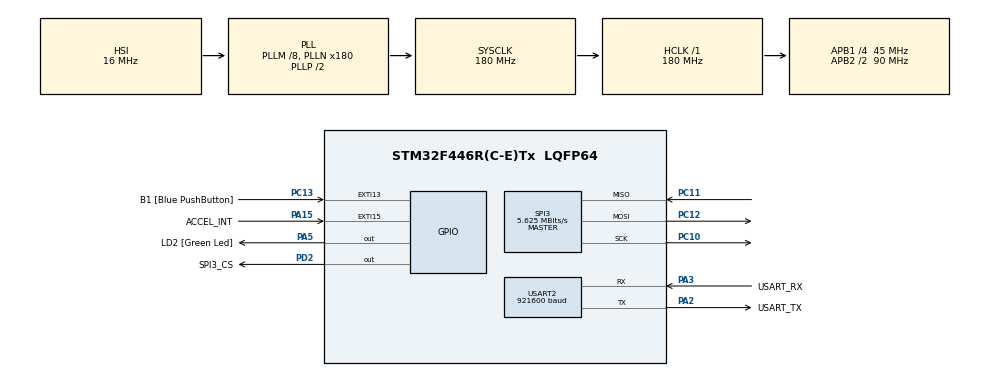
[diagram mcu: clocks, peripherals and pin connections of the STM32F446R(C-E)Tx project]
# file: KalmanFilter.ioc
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Dma.Request0=SPI3_TX
Dma.Request1=SPI3_RX
Dma.Request2=USART2_TX
Dma.Request3=USART2_RX
Dma.SPI3_RX.1.Direction=DMA_PERIPH_TO_MEMORY
Dma.SPI3_RX.1.FIFOMode=DMA_FIFOMODE_DISABLE
Dma.SPI3_RX.1.Instance=DMA1_Stream0
Dma.SPI3_RX.1.MemDataAlignment=DMA_MDATAALIGN_BYTE
Dma.SPI3_RX.1.MemInc=DMA_MINC_ENABLE
Dma.SPI3_RX.1.Mode=DMA_NORMAL
Dma.SPI3_RX.1.PeriphDataAlignment=DMA_PDATAALIGN_BYTE
Dma.SPI3_RX.1.PeriphInc=DMA_PINC_DISABLE
Dma.SPI3_RX.1.Priority=DMA_PRIORITY_HIGH
Dma.SPI3_TX.0.Direction=DMA_MEMORY_TO_PERIPH
Dma.SPI3_TX.0.FIFOMode=DMA_FIFOMODE_DISABLE
Dma.SPI3_TX.0.Instance=DMA1_Stream7
Dma.SPI3_TX.0.MemDataAlignment=DMA_MDATAALIGN_BYTE
Dma.SPI3_TX.0.MemInc=DMA_MINC_ENABLE
Dma.SPI3_TX.0.Mode=DMA_NORMAL
Dma.SPI3_TX.0.PeriphDataAlignment=DMA_PDATAALIGN_BYTE
Dma.SPI3_TX.0.PeriphInc=DMA_PINC_DISABLE
Dma.SPI3_TX.0.Priority=DMA_PRIORITY_HIGH
Dma.USART2_RX.3.Direction=DMA_PERIPH_TO_MEMORY
Dma.USART2_RX.3.FIFOMode=DMA_FIFOMODE_DISABLE
Dma.USART2_RX.3.Instance=DMA1_Stream5
Dma.USART2_RX.3.MemDataAlignment=DMA_MDATAALIGN_BYTE
Dma.USART2_RX.3.MemInc=DMA_MINC_ENABLE
Dma.USART2_RX.3.Mode=DMA_NORMAL
Dma.USART2_RX.3.PeriphDataAlignment=DMA_PDATAALIGN_BYTE
Dma.USART2_RX.3.PeriphInc=DMA_PINC_DISABLE
Dma.USART2_RX.3.Priority=DMA_PRIORITY_MEDIUM
Dma.USART2_TX.2.Direction=DMA_MEMORY_TO_PERIPH
Dma.USART2_TX.2.FIFOMode=DMA_FIFOMODE_DISABLE
Dma.USART2_TX.2.Instance=DMA1_Stream6
Dma.USART2_TX.2.MemDataAlignment=DMA_MDATAALIGN_BYTE
Dma.USART2_TX.2.MemInc=DMA_MINC_ENABLE
Dma.USART2_TX.2.Mode=DMA_NORMAL
Dma.USART2_TX.2.PeriphDataAlignment=DMA_PDATAALIGN_BYTE
Dma.USART2_TX.2.PeriphInc=DMA_PINC_DISABLE
Dma.USART2_TX.2.Priority=DMA_PRIORITY_MEDIUM
Mcu.Family=STM32F4
Mcu.Name=STM32F446R(C-E)Tx
Mcu.Package=LQFP64
NVIC.DMA1_Stream0_IRQn=true\:0\:0\:false\:false\:true\:false\:true\:true
NVIC.DMA1_Stream5_IRQn=true\:0\:0\:false\:false\:true\:false\:true\:true
NVIC.DMA1_Stream6_IRQn=true\:0\:0\:false\:false\:true\:false\:true\:true
NVIC.DMA1_Stream7_IRQn=true\:0\:0\:false\:false\:true\:false\:true\:true
NVIC.EXTI15_10_IRQn=true\:0\:0\:false\:false\:true\:true\:true\:true
NVIC.PriorityGroup=NVIC_PRIORITYGROUP_0
NVIC.SPI3_IRQn=true\:0\:0\:false\:false\:true\:true\:true\:true
NVIC.TIM2_IRQn=true\:0\:0\:false\:false\:true\:true\:true\:true
NVIC.TIM4_IRQn=true\:0\:0\:false\:false\:true\:true\:true\:true
PA13.GPIO_Label=TMS
PA13.Mode=Serial_Wire
PA13.Signal=SYS_JTMS-SWDIO
PA14.GPIO_Label=TCK
PA14.Mode=Serial_Wire
PA14.Signal=SYS_JTCK-SWCLK
PA15.GPIO_Label=ACCEL_INT
PA15.Signal=GPXTI15
PA2.GPIO_Label=USART_TX
PA2.Mode=Asynchronous
PA2.Signal=USART2_TX
PA3.GPIO_Label=USART_RX
PA3.Mode=Asynchronous
PA3.Signal=USART2_RX
PA5.GPIO_Label=LD2 [Green Led]
PA5.Signal=GPIO_Output
PB3.GPIO_Label=SWO
PB3.Signal=SYS_JTDO-SWO
PC10.Mode=Full_Duplex_Master
PC10.Signal=SPI3_SCK
PC11.Mode=Full_Duplex_Master
PC11.Signal=SPI3_MISO
PC12.Mode=Full_Duplex_Master
PC12.Signal=SPI3_MOSI
PC13.GPIO_Label=B1 [Blue PushButton]
PC13.GPIO_ModeDefaultEXTI=GPIO_MODE_IT_FALLING
PC13.Signal=GPXTI13
PC14-OSC32_IN.Mode=LSE-External-Oscillator
PC14-OSC32_IN.Signal=RCC_OSC32_IN
PC15-OSC32_OUT.Mode=LSE-External-Oscillator
PC15-OSC32_OUT.Signal=RCC_OSC32_OUT
PD2.GPIO_Label=SPI3_CS
PD2.Signal=GPIO_Output
PH0-OSC_IN.Mode=HSE-External-Oscillator
PH0-OSC_IN.Signal=RCC_OSC_IN
PH1-OSC_OUT.Mode=HSE-External-Oscillator
PH1-OSC_OUT.Signal=RCC_OSC_OUT
ProjectManager.HeapSize=0x200
ProjectManager.StackSize=0x400
ProjectManager.TargetToolchain=STM32CubeIDE
RCC.48MHZClocksFreq_Value=84000000
RCC.AHBFreq_Value=180000000
RCC.APB1CLKDivider=RCC_HCLK_DIV4
RCC.APB1Freq_Value=45000000
RCC.APB1TimFreq_Value=90000000
RCC.APB2CLKDivider=RCC_HCLK_DIV2
RCC.APB2Freq_Value=90000000
RCC.APB2TimFreq_Value=180000000
RCC.CortexFreq_Value=180000000
RCC.FLatency-AdvancedSettings=FLASH_LATENCY_5
RCC.HCLKFreq_Value=180000000
RCC.HSE_VALUE=8000000
RCC.HSI_VALUE=16000000
RCC.PLLM=8
RCC.PLLN=180
RCC.SYSCLKFreq_VALUE=180000000
RCC.SYSCLKSource=RCC_SYSCLKSOURCE_PLLCLK
RCC.USBFreq_Value=180000000
RCC.VCOOutputFreq_Value=360000000
SPI3.BaudRatePrescaler=SPI_BAUDRATEPRESCALER_8
SPI3.CLKPhase=SPI_PHASE_2EDGE
SPI3.CLKPolarity=SPI_POLARITY_HIGH
SPI3.CalculateBaudRate=5.625 MBits/s
SPI3.Direction=SPI_DIRECTION_2LINES
SPI3.Mode=SPI_MODE_MASTER
SPI3.VirtualType=VM_MASTER
USART2.BaudRate=921600
USART2.VirtualMode=VM_ASYNC
VP_TIM2_VS_ClockSourceINT.Mode=Internal
VP_TIM4_VS_ClockSourceINT.Mode=Internal
board=NUCLEO-F446RE

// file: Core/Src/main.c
/* USER CODE BEGIN Header */
/**
  ******************************************************************************
  * @file           : main.c
  * @brief          : Main program body
  ******************************************************************************
  * @attention
  *
  * Copyright (c) 2024 STMicroelectronics.
  * All rights reserved.
  *
  * This software is licensed under terms that can be found in the LICENSE file
  * in the root directory of this software component.
  * If no LICENSE file comes with this software, it is provided AS-IS.
  *
  ******************************************************************************
  */
/* USER CODE END Header */
#include "main.h"
#include "dma.h"
#include "spi.h"
#include "tim.h"
#include "usart.h"
#include "gpio.h"

/* USER CODE BEGIN Includes */
#include <stdint.h>
#include <stdio.h>

#define INV_MSG_ENABLE
#include "Invn/EmbUtils/Message.h"
#include "Invn/EmbUtils/DataConverter.h"
#include "Invn/Devices/DeviceIcm20948.h"
#include "Invn/DynamicProtocol/DynProtocol.h"
#include "Invn/DynamicProtocol/DynProtocolTransportUart.h"

#include "Invn/Devices/Drivers/Icm20948/Icm20948Defs.h"
#include "Invn/Devices/Drivers/Icm20948/Icm20948Setup.h"
#include "Invn/Devices/Drivers/Icm20948/Icm20948MPUFifoControl.h"
#include "Invn/Devices/Drivers/Icm20948/Icm20948DataBaseDriver.h"

#include "idd_io_hal.h"
#include "delay.h"
#include "math.h"
/* USER CODE END Includes */

/* USER CODE BEGIN PD */
#define ARRAY_SIZE 10
#define DATA_FIELDS 9

#define MAIN_UART_ID UART1 // Through FTDI cable
#define LOG_UART_ID  UART2 // Through ST-Link
#define DELAY_TIMER  TIM4
#define TIMEBASE_TIMER TIM2

#define USE_IDDWRAPPER 0   /* This allows to control the sensors from sensor-cli host application and send sensor events to it */
#define ODR_NONE       0   /* Asynchronous sensors don't need to have a configured ODR */

/* Define msg level */
#define MSG_LEVEL INV_MSG_LEVEL_MAX

#define USE_RAW_ACC    0
#define USE_RAW_GYR    0
#define USE_GRV        0
#define USE_CAL_ACC    0
#define USE_CAL_GYR    0
#define USE_CAL_MAG    1
#define USE_UCAL_GYR   0
#define USE_UCAL_MAG   0
#define USE_RV         0    /* requires COMPASS*/
#define USE_GEORV      0    /* requires COMPASS*/
#define USE_ORI        0    /* requires COMPASS*/
#define USE_STEPC      0
#define USE_STEPD      0
#define USE_SMD        0
#define USE_BAC        0
#define USE_TILT       0
#define USE_PICKUP     0
#define USE_GRAVITY    0
#define USE_LINACC     0
#define USE_B2S        0

static const struct {
	uint8_t  type;
	uint32_t period_us;
} sensor_list[] = {
#if USE_RAW_ACC
	{ INV_SENSOR_TYPE_RAW_ACCELEROMETER, 10000 /* 20 Hz */ }, //Not exceeding 200 hz (ish)
#endif
#if USE_RAW_GYR
	{ INV_SENSOR_TYPE_RAW_GYROSCOPE,     10000 /* 20 Hz */ },
#endif
#if USE_CAL_ACC
	{ INV_SENSOR_TYPE_ACCELEROMETER, 50000 /* 20 Hz */ },
#endif
#if USE_CAL_GYR
	{ INV_SENSOR_TYPE_GYROSCOPE, 50000 /* 20 Hz */ },
#endif
#if USE_CAL_MAG
	{ INV_SENSOR_TYPE_MAGNETOMETER, 50000 /* 20 Hz */ },
#endif
#if USE_UCAL_GYR
	{ INV_SENSOR_TYPE_UNCAL_GYROSCOPE, 50000 /* 20 Hz */ },
#endif
#if USE_UCAL_MAG
	{ INV_SENSOR_TYPE_UNCAL_MAGNETOMETER, 50000 /* 20 Hz */ },
#endif
#if USE_GRV
	{ INV_SENSOR_TYPE_GAME_ROTATION_VECTOR, 50000 /* 20 Hz */ },
#endif
#if USE_RV
	{ INV_SENSOR_TYPE_ROTATION_VECTOR, 50000 /* 20 Hz */ },
#endif
#if USE_GEORV
	{ INV_SENSOR_TYPE_GEOMAG_ROTATION_VECTOR, 50000 /* 20 Hz */ },
#endif
#if USE_ORI
	{ INV_SENSOR_TYPE_ORIENTATION, 50000 /* 20 Hz */ },
#endif
#if USE_STEPC
	{ INV_SENSOR_TYPE_STEP_COUNTER, ODR_NONE },
#endif
#if USE_STEPD
	{ INV_SENSOR_TYPE_STEP_DETECTOR, ODR_NONE},
#endif
#if USE_SMD
	{ INV_SENSOR_TYPE_SMD, ODR_NONE},
#endif
#if USE_BAC
	{ INV_SENSOR_TYPE_BAC, ODR_NONE},
#endif
#if USE_TILT
	{ INV_SENSOR_TYPE_TILT_DETECTOR, ODR_NONE},
#endif
#if USE_PICKUP
	{ INV_SENSOR_TYPE_PICK_UP_GESTURE, ODR_NONE},
#endif
#if USE_GRA
	{ INV_SENSOR_TYPE_GRAVITY, 50000 /* 20 Hz */},
#endif
#if USE_LINACC
	{ INV_SENSOR_TYPE_LINEAR_ACCELERATION, 50000 /* 20 Hz */},
#endif
#if USE_B2S
	{ INV_SENSOR_TYPE_B2S, ODR_NONE},
#endif
};
const char * activityName(int act);

/* USER CODE END PD */

/* USER CODE BEGIN PV */
static volatile uint16_t irq_from_device;
/*
 * WHOAMI value for 20948
 */
static const uint8_t EXPECTED_WHOAMI[] = { 0xEA };
static const uint8_t dmp3_image[] = {
//	0
	 #include "icm20948_img.dmp3a.h"
};
/*
 * States for icm20948 device object
 */
static inv_device_icm20948_t device_icm20948;

/*
 * Just a handy variable to keep the handle to device object
 */
static inv_device_t * device;

/*
 * Last time at which 20948 IRQ was fired
 */
static volatile uint32_t last_irq_time = 0;

/* USER CODE END PV */

void SystemClock_Config(void);
/* USER CODE BEGIN PFP */
void ext_interrupt_cb(void * context, int int_num);
static void sensor_event_cb(const inv_sensor_event_t * event, void * arg);
void inv_icm20948_sleep_us(int us);
void inv_icm20948_sleep(int us);
uint64_t inv_icm20948_get_time_us(void);
uint64_t inv_icm20948_get_dataready_interrupt_time_us(void);
static void check_rc(int rc);
static void msg_printer(int level, const char * str, va_list ap);

int __io_putchar(int ch) {
    HAL_UART_Transmit(&huart2, (uint8_t*)&ch, 1, HAL_MAX_DELAY);
    return ch;
}

int _write(int file, char *ptr, int len) {
    HAL_UART_Transmit(&huart2, (uint8_t*)ptr, len, HAL_MAX_DELAY);
    return len;
}

#ifndef TO_MASK
//#define TO_MASK(a) (1U << (unsigned)(a))
#define TO_MASK(a) ((unsigned)(a))
#endif

void modify_register(struct inv_icm20948 * s, uint16_t reg, unsigned char mask, unsigned char value);
/*
 * A listener object will handle sensor events
 */
static const inv_sensor_listener_t sensor_listener = {
	sensor_event_cb, /* callback that will receive sensor events */
	0                /* some pointer passed to the callback */
};
/* USER CODE END PFP */

int main(void)
{

  /* USER CODE BEGIN 1 */
  int rc = 0;
  unsigned i = 0;
  uint8_t whoami = 0xff;
  /* USER CODE END 1 */

  /* MCU Configuration--------------------------------------------------------*/

  /* Reset of all peripherals, Initializes the Flash interface and the Systick. */
  HAL_Init();

  /* Configure the system clock */
  SystemClock_Config();

  /* Initialize all configured peripherals */
  MX_GPIO_Init();
  MX_DMA_Init();
  MX_USART2_UART_Init();
  MX_SPI3_Init();
  MX_TIM4_Init();
  MX_TIM2_Init();
  /* USER CODE BEGIN 2 */
  HAL_UART_Init(&huart2);
  HAL_GPIO_WritePin(SPI3_CS_GPIO_Port, SPI3_CS_Pin, GPIO_PIN_SET);
  delay_init(DELAY_TIMER);
  timer_configure_timebase(&htim2, 1000000);
  HAL_TIM_Base_Start_IT(&htim2);

  /*
  * Setup message facility to see internal traces from IDD
  */
  INV_MSG_SETUP(MSG_LEVEL, msg_printer);

  /*
  * Welcome message
  */
  INV_MSG(INV_MSG_LEVEL_INFO, "###################################");
  INV_MSG(INV_MSG_LEVEL_INFO, "#          20948 example          #");
  INV_MSG(INV_MSG_LEVEL_INFO, "###################################");

  /* USER CODE END 2 */

  /* Infinite loop */
  /* USER CODE BEGIN WHILE */
  rc += inv_host_serif_open(idd_io_hal_get_serif_instance_spi());

  /*
	 * Create icm20948 Device
	 * Pass to the driver:
	 * - reference to serial interface object,
	 * - reference to listener that will catch sensor events,
	 * - a static buffer for the driver to use as a temporary buffer
	 * - various driver option
	 */
	inv_device_icm20948_init(&device_icm20948, idd_io_hal_get_serif_instance_spi(),
			&sensor_listener, dmp3_image, sizeof(dmp3_image));

  /*
	 * Simply get generic device handle from icm20948 Device
	 */
	device = inv_device_icm20948_get_base(&device_icm20948);

	/*
	 * Just get the whoami
	 */
	rc = inv_device_whoami(device, &whoami);
	INV_MSG(INV_MSG_LEVEL_INFO, "ICM WHOAMI=%02x", whoami);
	check_rc(rc);

	/*
	 * Check if WHOAMI value corresponds to any value from EXPECTED_WHOAMI array
	 */
	for(i = 0; i < sizeof(EXPECTED_WHOAMI)/sizeof(EXPECTED_WHOAMI[0]); ++i) {
		if(whoami == EXPECTED_WHOAMI[i])
			break;
	}

	if(i == sizeof(EXPECTED_WHOAMI)/sizeof(EXPECTED_WHOAMI[0])) {
		INV_MSG(INV_MSG_LEVEL_ERROR, "Bad WHOAMI value. Got 0x%02x. Expected @EXPECTED_WHOAMI@.", whoami);
		check_rc(-1);
	}

	/*
	 * Configure and initialize the icm20948 device
	 */
	INV_MSG(INV_MSG_LEVEL_INFO, "Setting-up ICM device");
	rc = inv_device_setup(device);
	check_rc(rc);

	uint64_t available_sensor_mask; /* To keep track of available sensors*/
	/*
		* Check sensor availibitlity
		* if rc value is 0, it means sensor is available,
		* if rc value is INV_ERROR or INV_ERROR_BAD_ARG, sensor is NA
		*/
	available_sensor_mask = 0;
	for(i = 0; i < sizeof(sensor_list)/sizeof(sensor_list[0]); ++i) {
		const int rc = inv_device_ping_sensor(device, sensor_list[i].type);
		INV_MSG(INV_MSG_LEVEL_INFO, "Ping %s %s", inv_sensor_2str(sensor_list[i].type), (rc == 0) ? "OK" : "KO");
		if(rc == 0) {
			available_sensor_mask |= (1ULL << sensor_list[i].type);
		}
	}

	/*
		* Start all available sensors from the sensor list
		*/
	for(i = 0; i < sizeof(sensor_list)/sizeof(sensor_list[0]); ++i) {
		if(available_sensor_mask & (1ULL << sensor_list[i].type)) {
			INV_MSG(INV_MSG_LEVEL_INFO, "Starting %s @ %u us", inv_sensor_2str(sensor_list[i].type), sensor_list[i].period_us);
			rc  = inv_device_set_sensor_period_us(device, sensor_list[i].type, sensor_list[i].period_us);
			check_rc(rc);
			rc += inv_device_start_sensor(device, sensor_list[i].type);
			check_rc(rc);
		}
	}

	/*
	* Poll device for data
	*/
	unsigned char test_data[6];
	unsigned char mask;
	unsigned char val;

	/*-------SLV I2C Regs-----------*/
	inv_icm20948_read_mems_reg(&device_icm20948.icm20948_states, REG_I2C_SLV0_CTRL, 1, test_data);
	INV_MSG(INV_MSG_LEVEL_INFO, "REG_I2C_SLV0_CTRL : %d", test_data[0]);
	inv_icm20948_read_mems_reg(&device_icm20948.icm20948_states, REG_I2C_SLV1_CTRL, 1, test_data);
	INV_MSG(INV_MSG_LEVEL_INFO, "REG_I2C_SLV1_CTRL : %d", test_data[0]);
	inv_icm20948_read_mems_reg(&device_icm20948.icm20948_states, REG_I2C_SLV2_CTRL, 1, test_data);
	INV_MSG(INV_MSG_LEVEL_INFO, "REG_I2C_SLV2_CTRL : %d", test_data[0]);
	inv_icm20948_read_mems_reg(&device_icm20948.icm20948_states, REG_I2C_SLV3_CTRL, 1, test_data);
	INV_MSG(INV_MSG_LEVEL_INFO, "REG_I2C_SLV3_CTRL : %d", test_data[0]);

	inv_icm20948_read_mems_reg(&device_icm20948.icm20948_states, REG_I2C_SLV0_ADDR, 1, test_data);
	INV_MSG(INV_MSG_LEVEL_INFO, "REG_I2C_SLV0_ADDR : %d", test_data[0]);
	inv_icm20948_read_mems_reg(&device_icm20948.icm20948_states, REG_I2C_SLV1_ADDR, 1, test_data);
	INV_MSG(INV_MSG_LEVEL_INFO, "REG_I2C_SLV1_ADDR : %d", test_data[0]);
	inv_icm20948_read_mems_reg(&device_icm20948.icm20948_states, REG_I2C_SLV2_ADDR, 1, test_data);
	INV_MSG(INV_MSG_LEVEL_INFO, "REG_I2C_SLV2_ADDR : %d", test_data[0]);
	inv_icm20948_read_mems_reg(&device_icm20948.icm20948_states, REG_I2C_SLV3_ADDR, 1, test_data);
	INV_MSG(INV_MSG_LEVEL_INFO, "REG_I2C_SLV3_ADDR : %d", test_data[0]);

	/*-------------------*/
	// Disable DMP INT
	mask = 0b10001111;
	val = 0;
	modify_register(&device_icm20948.icm20948_states, REG_INT_ENABLE, mask, val);
	/*-------------------*/
	// Enable Raw Data INT
	mask = 0b1;
	val = 0b1;
	modify_register(&device_icm20948.icm20948_states, REG_INT_ENABLE_1, mask, val);

	/*-------Accel-------*/
	mask = 0b111111;
	val = 1; // Enable FCHOICE
	INV_MSG(INV_MSG_LEVEL_VERBOSE, "REG_ACCEL_CONFIG");
	modify_register(&device_icm20948.icm20948_states, REG_ACCEL_CONFIG, mask, val);
	device_icm20948.icm20948_states.base_state.accel_fullscale = 0;

	mask = 0b11111;
	val = 0;
	INV_MSG(INV_MSG_LEVEL_VERBOSE, "REG_ACCEL_CONFIG_2");
	modify_register(&device_icm20948.icm20948_states, REG_ACCEL_CONFIG_2, mask, val);

	mask = 0b1111;
	val = 0;
	INV_MSG(INV_MSG_LEVEL_VERBOSE, "REG_ACCEL_SMPLRT_DIV_1");
	modify_register(&device_icm20948.icm20948_states, REG_ACCEL_SMPLRT_DIV_1, mask, val);

	mask = 0b11111111;
	val = 0;
	INV_MSG(INV_MSG_LEVEL_VERBOSE, "REG_ACCEL_SMPLRT_DIV_2");
	modify_register(&device_icm20948.icm20948_states, REG_ACCEL_SMPLRT_DIV_2, mask, val);

	inv_icm20948_read_mems_reg(&device_icm20948.icm20948_states, REG_ACCEL_XOUT_H_SH, 6, test_data);
	INV_MSG(INV_MSG_LEVEL_VERBOSE, "Accel Meas (XH,XL,YH,YL,ZH,ZL) : %d, %d, %d, %d, %d, %d", test_data[0],test_data[1],test_data[2],test_data[3],test_data[4],test_data[5]);

	/*-------Gyro-------*/
	mask = 0b111111;
	val = 1; //Enable FCHOICE
	INV_MSG(INV_MSG_LEVEL_VERBOSE, "REG_GYRO_CONFIG_1");
	modify_register(&device_icm20948.icm20948_states, REG_GYRO_CONFIG_1, mask, val);
	device_icm20948.icm20948_states.base_state.gyro_fullscale = 0;

	mask = 0b111111;
	val = 0;
	INV_MSG(INV_MSG_LEVEL_VERBOSE, "REG_GYRO_CONFIG_2");
	modify_register(&device_icm20948.icm20948_states, REG_GYRO_CONFIG_2, mask, val);

	mask = 0b11111111;
	val = 0;
	INV_MSG(INV_MSG_LEVEL_VERBOSE, "REG_GYRO_SMPLRT_DIV");
	modify_register(&device_icm20948.icm20948_states, REG_GYRO_SMPLRT_DIV, mask, val);

	inv_icm20948_read_mems_reg(&device_icm20948.icm20948_states, REG_GYRO_XOUT_H_SH, 6, test_data);
	INV_MSG(INV_MSG_LEVEL_VERBOSE, "Gyro Meas (XH,XL,YH,YL,ZH,ZL) : %d, %d, %d, %d, %d, %d", test_data[0],test_data[1],test_data[2],test_data[3],test_data[4],test_data[5]);

	/*-------------------*/

//	mask = 0b00100000;
//	val = 0b00000000;
//	INV_MSG(INV_MSG_LEVEL_VERBOSE, "REG_PWR_MGMT_1");
//	modify_register(&device_icm20948.icm20948_states, REG_PWR_MGMT_1, mask, val);
	inv_icm20948_read_mems_reg(&device_icm20948.icm20948_states, REG_PWR_MGMT_1, 1, test_data);
	INV_MSG(INV_MSG_LEVEL_INFO, "REG_PWR_MGMT_1 : %d", test_data[0]);
	/*-------------------*/
	inv_icm20948_read_mems_reg(&device_icm20948.icm20948_states, REG_PWR_MGMT_2, 1, test_data);
	INV_MSG(INV_MSG_LEVEL_INFO, "REG_PWR_MGMT_2 : %d", test_data[0]);
	/*-------------------*/
	// Disable DMP and FIFO
		mask = 0b11000000;
		val = 0b00000000;
		modify_register(&device_icm20948.icm20948_states, REG_USER_CTRL, mask, val);

	/*-------------------*/
	// Disable Duty Cycle Mode
//	inv_icm20948_read_mems_reg(&device_icm20948.icm20948_states, REG_LP_CONFIG, 1, test_data);
//	INV_MSG(INV_MSG_LEVEL_INFO, "REG_LP_CONFIG : %d", test_data[0]);
	mask = 0b01110000;
	val = 0b01000000;
	INV_MSG(INV_MSG_LEVEL_VERBOSE, "REG_LP_CONFIG");
	modify_register(&device_icm20948.icm20948_states, REG_LP_CONFIG, mask, val);

	/*-------------------*/
	// Reading Raw Data Interrupt Reg
	inv_icm20948_read_mems_reg(&device_icm20948.icm20948_states, REG_INT_STATUS_1, 1, test_data);
	INV_MSG(INV_MSG_LEVEL_INFO, "REG_INT_STATUS_1 : %d", test_data[0]);

	inv_icm20948_read_mems_reg(&device_icm20948.icm20948_states, REG_PWR_MGMT_1, 1, test_data);
	INV_MSG(INV_MSG_LEVEL_INFO, "REG_PWR_MGMT_1 : %d", test_data[0]);
	/*-------------------*/
	// Enable All Accel and Gyro Axis
	inv_icm20948_read_mems_reg(&device_icm20948.icm20948_states, REG_PWR_MGMT_2, 1, test_data);
	INV_MSG(INV_MSG_LEVEL_INFO, "REG_PWR_MGMT_2 : %d", test_data[0]);
	mask = 0b111111;
	val = 0b000000;
	INV_MSG(INV_MSG_LEVEL_VERBOSE, "REG_PWR_MGMT_2");
	modify_register(&device_icm20948.icm20948_states, REG_PWR_MGMT_2, mask, val);

	/*--------- FIFO Stuff -------*/
	inv_icm20948_read_mems_reg(&device_icm20948.icm20948_states, REG_INT_ENABLE_2, 1, test_data);
	INV_MSG(INV_MSG_LEVEL_INFO, "REG_INT_ENABLE_2 : %d", test_data[0]);
	modify_register(&device_icm20948.icm20948_states, REG_INT_ENABLE_2, 0b00011111, 1);

	inv_icm20948_read_mems_reg(&device_icm20948.icm20948_states, REG_INT_ENABLE_3, 1, test_data);
	INV_MSG(INV_MSG_LEVEL_INFO, "REG_INT_ENABLE_3 : %d", test_data[0]);
	modify_register(&device_icm20948.icm20948_states, REG_INT_ENABLE_3, 0b00011111, 0);

	// FIFO EN for Mag
	inv_icm20948_read_mems_reg(&device_icm20948.icm20948_states, REG_FIFO_EN, 1, test_data);
	INV_MSG(INV_MSG_LEVEL_INFO, "REG_FIFO_EN : %d", test_data[0]);
	modify_register(&device_icm20948.icm20948_states, REG_FIFO_EN, 0b00001111, 0b0001);

	// FIFO EN for Accel and Gyro and Temp
	inv_icm20948_read_mems_reg(&device_icm20948.icm20948_states, REG_FIFO_EN_2, 1, test_data);
	INV_MSG(INV_MSG_LEVEL_INFO, "REG_FIFO_EN_2 : %d", test_data[0]);
	modify_register(&device_icm20948.icm20948_states, REG_FIFO_EN_2, 0b00011111, 0b11111);

	inv_icm20948_read_mems_reg(&device_icm20948.icm20948_states, REG_FIFO_RST, 1, test_data);
	INV_MSG(INV_MSG_LEVEL_INFO, "REG_FIFO_RST : %d", test_data[0]);
	modify_register(&device_icm20948.icm20948_states, REG_FIFO_RST, 0b00011111, 0b11111);

	modify_register(&device_icm20948.icm20948_states, REG_FIFO_RST, 0b00011111, 0b11110);

	inv_icm20948_read_mems_reg(&device_icm20948.icm20948_states, REG_FIFO_MODE, 1, test_data);
	INV_MSG(INV_MSG_LEVEL_INFO, "REG_FIFO_MODE : %d", test_data[0]);
	inv_icm20948_read_mems_reg(&device_icm20948.icm20948_states, REG_FIFO_CFG, 1, test_data);
	INV_MSG(INV_MSG_LEVEL_INFO, "REG_FIFO_CFG : %d", test_data[0]);

	inv_icm20948_read_mems_reg(&device_icm20948.icm20948_states, REG_ACCEL_CONFIG, 1, test_data);
	INV_MSG(INV_MSG_LEVEL_INFO, "REG_ACCEL_CONFIG : %d", test_data[0]);

	float accel_scale = (1 << inv_icm20948_get_accel_fullscale(&device_icm20948.icm20948_states)) * 2.f / (1L<<15); // Convert from raw units to g's
	float gyro_scale = (1 << inv_icm20948_get_gyro_fullscale(&device_icm20948.icm20948_states)) * 250.f / (1L<<15); // Convert from raw units to dps's
	float mag_scale = 4912.f / (1L<<15); // Convert from raw units to uT
	float accel_float[3];
	float gyro_float[3];
	float mag_float[3];
	int32_t  long_data[16] = {0};
	int32_t  long_data2[16] = {0};
	uint64_t timestamps[ARRAY_SIZE];
	uint16_t fifo_data_count[ARRAY_SIZE];
	float datalog[ARRAY_SIZE][DATA_FIELDS]; // Array to store timestamps
	int32_t datalog_long[ARRAY_SIZE][DATA_FIELDS]; // Array to store timestamps

	uint16_t idx = 0;  // Index for the current timestamp in the array
	unsigned char fifo_data[1024];

	//	// Enable FIFO
	modify_register(&device_icm20948.icm20948_states, REG_USER_CTRL, 0b11000000, 0b01000000);

	while (1)
  {
//    INV_MSG(INV_MSG_LEVEL_INFO, "Polling Sensor");
	  // This is the DMP Polling Stuff
//	if (irq_from_device & TO_MASK(ACCEL_INT_Pin)) {
//		rc = inv_device_poll(device);
//		check_rc(rc);
//
//		if(rc >= 0) {
//			__disable_irq();
//			irq_from_device &= ~TO_MASK(ACCEL_INT_Pin);
//			__enable_irq();
//		}
//	}
	  if (irq_from_device & TO_MASK(ACCEL_INT_Pin)) {
		  // Read INT REG
//		  inv_icm20948_read_mems_reg(&device_icm20948.icm20948_states, REG_INT_STATUS_1, 1, test_data);
		  // Check INT

//		  if(test_data[0])
//		  {

		  // Not enough time to read FIFO count at 9kHz

		     inv_icm20948_read_mems_reg(&device_icm20948.icm20948_states, REG_FIFO_COUNT_H, 2, fifo_data);
		     uint16_t fifo_len = (int16_t)((fifo_data[0] << 8) | fifo_data[1]);
		     fifo_data_count[idx] = fifo_len;
		     uint16_t bytes_read = 0;

		     if (fifo_len != 0)
		     {
		    	 while (bytes_read<fifo_len)
				 {
					 unsigned short thisLen = min(INV_MAX_SERIAL_READ, fifo_len-bytes_read);

					 inv_icm20948_read_mems_reg(&device_icm20948.icm20948_states, REG_FIFO_R_W, thisLen, &fifo_data[bytes_read]);
					 bytes_read += thisLen;
				 }
		     }

		     for (int i = 0; i < 16; i++) {
		         long_data[i] = (int16_t)((fifo_data[2*i] << 8) | fifo_data[2*i + 1]);
		     }

		 accel_float[0] = long_data[0]*accel_scale;
		 accel_float[1] = long_data[1]*accel_scale;
		 accel_float[2] = long_data[2]*accel_scale;
		 gyro_float[0] = long_data[3]*gyro_scale;
		 gyro_float[1] = long_data[4]*gyro_scale;
		 gyro_float[2] = long_data[5]*gyro_scale;
//		 temperature = long_data[6]
		 // Idk = long_data[7]
		 mag_float[0] = long_data[8]*mag_scale;
		 mag_float[1] = long_data[9]*mag_scale;
		 mag_float[2] = long_data[10]*mag_scale;

		  timestamps[idx] = last_irq_time;
		  datalog[idx][0] = accel_float[0];
		  datalog[idx][1] = accel_float[1];
		  datalog[idx][2] = accel_float[2];
		  datalog[idx][3] = gyro_float[0];
		  datalog[idx][4] = gyro_float[1];
		  datalog[idx][5] = gyro_float[2];
		  datalog[idx][6] = mag_float[0];
		  datalog[idx][7] = mag_float[1];
		  datalog[idx][8] = mag_float[2];
		  datalog_long[idx][0] = long_data[0];
		  datalog_long[idx][1] = long_data[1];
		  datalog_long[idx][2] = long_data[2];
		  datalog_long[idx][3] = long_data[3];
		  datalog_long[idx][4] = long_data[4];
		  datalog_long[idx][5] = long_data[5];
		  datalog_long[idx][6] = long_data[6];
		  datalog_long[idx][7] = long_data[7];
		  datalog_long[idx][8] = long_data[8];

		  idx++;
		  if (idx == ARRAY_SIZE) {
			for (int i = 0; i < ARRAY_SIZE; i++) {
				printf("TS = %llu, Accel = (%f, %f, %f), Gyro = (%f, %f, %f), Mag = (%f, %f, %f), FIFO = %d\n\r",
						timestamps[i], datalog[i][0], datalog[i][1], datalog[i][2],
						datalog[i][3], datalog[i][4], datalog[i][5],
						datalog[i][6], datalog[i][7], datalog[i][8], fifo_data_count[i]);
//				printf("TS = %llu, Accel = (%ld, %ld, %ld), Gyro = (%ld, %ld, %ld), Mag = (%ld, %ld, %ld), FIFO = %d\n\r",
//						timestamps[i], datalog_long[i][0], datalog_long[i][1], datalog_long[i][2],
//						datalog_long[i][3], datalog_long[i][4], datalog_long[i][5],
//						datalog_long[i][6], datalog_long[i][7], datalog_long[i][8], fifo_data_count[i]);

			}
			idx = 0;  // Reset index to start filling the array again
		  }
		__disable_irq();
		irq_from_device &= ~TO_MASK(ACCEL_INT_Pin);
		__enable_irq();

//		  }
	  }
//	if (int_read_back & 0x8)
//	{
//		INV_MSG(INV_MSG_LEVEL_INFO, "Raw Data Int");
//	}

    /* USER CODE END WHILE */

  }
}

void SystemClock_Config(void)
{
  RCC_OscInitTypeDef RCC_OscInitStruct = {0};
  RCC_ClkInitTypeDef RCC_ClkInitStruct = {0};

  /** Configure the main internal regulator output voltage
  */
  __HAL_RCC_PWR_CLK_ENABLE();
  __HAL_PWR_VOLTAGESCALING_CONFIG(PWR_REGULATOR_VOLTAGE_SCALE1);

  /** Initializes the RCC Oscillators according to the specified parameters
  * in the RCC_OscInitTypeDef structure.
  */
  RCC_OscInitStruct.OscillatorType = RCC_OSCILLATORTYPE_HSI;
  RCC_OscInitStruct.HSIState = RCC_HSI_ON;
  RCC_OscInitStruct.HSICalibrationValue = RCC_HSICALIBRATION_DEFAULT;
  RCC_OscInitStruct.PLL.PLLState = RCC_PLL_ON;
  RCC_OscInitStruct.PLL.PLLSource = RCC_PLLSOURCE_HSI;
  RCC_OscInitStruct.PLL.PLLM = 8;
  RCC_OscInitStruct.PLL.PLLN = 180;
  RCC_OscInitStruct.PLL.PLLP = RCC_PLLP_DIV2;
  RCC_OscInitStruct.PLL.PLLQ = 2;
  RCC_OscInitStruct.PLL.PLLR = 2;
  if (HAL_RCC_OscConfig(&RCC_OscInitStruct) != HAL_OK)
  {
    Error_Handler();
  }

  /** Activate the Over-Drive mode
  */
  if (HAL_PWREx_EnableOverDrive() != HAL_OK)
  {
    Error_Handler();
  }

  /** Initializes the CPU, AHB and APB buses clocks
  */
  RCC_ClkInitStruct.ClockType = RCC_CLOCKTYPE_HCLK|RCC_CLOCKTYPE_SYSCLK
                              |RCC_CLOCKTYPE_PCLK1|RCC_CLOCKTYPE_PCLK2;
  RCC_ClkInitStruct.SYSCLKSource = RCC_SYSCLKSOURCE_PLLCLK;
  RCC_ClkInitStruct.AHBCLKDivider = RCC_SYSCLK_DIV1;
  RCC_ClkInitStruct.APB1CLKDivider = RCC_HCLK_DIV4;
  RCC_ClkInitStruct.APB2CLKDivider = RCC_HCLK_DIV2;

  if (HAL_RCC_ClockConfig(&RCC_ClkInitStruct, FLASH_LATENCY_5) != HAL_OK)
  {
    Error_Handler();
  }
}

/* USER CODE BEGIN 4 */

/*
 * Callback called upon sensor event reception
 * This function is called in the same context as inv_device_poll()
 */
static void sensor_event_cb(const inv_sensor_event_t * event, void * arg)
{
	/* arg will contained the value provided at init time */
	(void)arg;
	/*
	 * In normal mode, display sensor event over UART messages
	 */

	if(event->status == INV_SENSOR_STATUS_DATA_UPDATED) {

		switch(INV_SENSOR_ID_TO_TYPE(event->sensor)) {
		case INV_SENSOR_TYPE_RAW_ACCELEROMETER:
		case INV_SENSOR_TYPE_RAW_GYROSCOPE:
			INV_MSG(INV_MSG_LEVEL_INFO, "data event %s (lsb): %llu %d %d %d",
					inv_sensor_str(event->sensor),
					event->timestamp,
					(int)event->data.raw3d.vect[0],
					(int)event->data.raw3d.vect[1],
					(int)event->data.raw3d.vect[2]);

			break;
		case INV_SENSOR_TYPE_ACCELEROMETER:
		case INV_SENSOR_TYPE_LINEAR_ACCELERATION:
		case INV_SENSOR_TYPE_GRAVITY:
			INV_MSG(INV_MSG_LEVEL_INFO, "data event %s (mg): %d %d %d", inv_sensor_str(event->sensor),
					(int)(event->data.acc.vect[0]*1000),
					(int)(event->data.acc.vect[1]*1000),
					(int)(event->data.acc.vect[2]*1000));
			break;
		case INV_SENSOR_TYPE_GYROSCOPE:
			INV_MSG(INV_MSG_LEVEL_INFO, "data event %s (mdps): %d %d %d", inv_sensor_str(event->sensor),
					(int)(event->data.gyr.vect[0]*1000),
					(int)(event->data.gyr.vect[1]*1000),
					(int)(event->data.gyr.vect[2]*1000));
			break;
		case INV_SENSOR_TYPE_MAGNETOMETER:
			INV_MSG(INV_MSG_LEVEL_INFO, "data event %s (nT): %d %d %d", inv_sensor_str(event->sensor),
					(int)(event->data.mag.vect[0]*1000),
					(int)(event->data.mag.vect[1]*1000),
					(int)(event->data.mag.vect[2]*1000));
			break;
		case INV_SENSOR_TYPE_UNCAL_GYROSCOPE:
			INV_MSG(INV_MSG_LEVEL_INFO, "data event %s (mdps): %d %d %d %d %d %d", inv_sensor_str(event->sensor),
					(int)(event->data.gyr.vect[0]*1000),
					(int)(event->data.gyr.vect[1]*1000),
					(int)(event->data.gyr.vect[2]*1000),
					(int)(event->data.gyr.bias[0]*1000),
					(int)(event->data.gyr.bias[1]*1000),
					(int)(event->data.gyr.bias[2]*1000));
			break;
		case INV_SENSOR_TYPE_UNCAL_MAGNETOMETER:
			INV_MSG(INV_MSG_LEVEL_INFO, "data event %s (nT): %d %d %d %d %d %d", inv_sensor_str(event->sensor),
					(int)(event->data.mag.vect[0]*1000),
					(int)(event->data.mag.vect[1]*1000),
					(int)(event->data.mag.vect[2]*1000),
					(int)(event->data.mag.bias[0]*1000),
					(int)(event->data.mag.bias[1]*1000),
					(int)(event->data.mag.bias[2]*1000));
			break;
		case INV_SENSOR_TYPE_GAME_ROTATION_VECTOR:
		case INV_SENSOR_TYPE_ROTATION_VECTOR:
		case INV_SENSOR_TYPE_GEOMAG_ROTATION_VECTOR:
			INV_MSG(INV_MSG_LEVEL_INFO, "data event %s (e-3): %d %d %d %d ", inv_sensor_str(event->sensor),
					(int)(event->data.quaternion.quat[0]*1000),
					(int)(event->data.quaternion.quat[1]*1000),
					(int)(event->data.quaternion.quat[2]*1000),
					(int)(event->data.quaternion.quat[3]*1000));
			break;
		case INV_SENSOR_TYPE_ORIENTATION:
			INV_MSG(INV_MSG_LEVEL_INFO, "data event %s (e-3): %d %d %d ", inv_sensor_str(event->sensor),
					(int)(event->data.orientation.x*1000),
					(int)(event->data.orientation.y*1000),
					(int)(event->data.orientation.z*1000));
			break;
		case INV_SENSOR_TYPE_BAC:
			INV_MSG(INV_MSG_LEVEL_INFO, "data event %s : %d %s", inv_sensor_str(event->sensor),
					event->data.bac.event, activityName(event->data.bac.event));
			break;
		case INV_SENSOR_TYPE_STEP_COUNTER:
			INV_MSG(INV_MSG_LEVEL_INFO, "data event %s : %lu", inv_sensor_str(event->sensor),
					(unsigned long)event->data.step.count);
			break;
		case INV_SENSOR_TYPE_PICK_UP_GESTURE:
		case INV_SENSOR_TYPE_STEP_DETECTOR:
		case INV_SENSOR_TYPE_SMD:
		case INV_SENSOR_TYPE_B2S:
		case INV_SENSOR_TYPE_TILT_DETECTOR:
		default:
			INV_MSG(INV_MSG_LEVEL_INFO, "data event %s : ...", inv_sensor_str(event->sensor));
			break;
		}
	}
}

static void check_rc(int rc)
{
	if(rc == -1) {
		INV_MSG(INV_MSG_LEVEL_INFO, "BAD RC=%d", rc);
		while(1);
	}
}

static void msg_printer(int level, const char * str, va_list ap)
{
#ifdef INV_MSG_ENABLE
	static char out_str[256]; /* static to limit stack usage */
	unsigned idx = 0;
	const char * ptr = out_str;
	const char * s[INV_MSG_LEVEL_MAX] = {
		"",    // INV_MSG_LEVEL_OFF
		"[E] ", // INV_MSG_LEVEL_ERROR
		"[W] ", // INV_MSG_LEVEL_WARNING
		"[I] ", // INV_MSG_LEVEL_INFO
		"[V] ", // INV_MSG_LEVEL_VERBOSE
		"[D] ", // INV_MSG_LEVEL_DEBUG
	};

	idx += snprintf(&out_str[idx], sizeof(out_str) - idx, "%s", s[level]);
	if(idx >= (sizeof(out_str)))
		return;
	idx += vsnprintf(&out_str[idx], sizeof(out_str) - idx, str, ap);
	if(idx >= (sizeof(out_str)))
		return;
	idx += snprintf(&out_str[idx], sizeof(out_str) - idx, "\r\n");
	if(idx >= (sizeof(out_str)))
		return;

	// Transmit the message over UART
	HAL_UART_Transmit(&huart2, (uint8_t*)out_str, idx, HAL_MAX_DELAY);

#else
	(void)level, (void)str, (void)ap;
#endif
}

const char * activityName(int act)
{
	switch(act) {
	case INV_SENSOR_BAC_EVENT_ACT_IN_VEHICLE_BEGIN:          return "BEGIN IN_VEHICLE";
	case INV_SENSOR_BAC_EVENT_ACT_WALKING_BEGIN:             return "BEGIN WALKING";
	case INV_SENSOR_BAC_EVENT_ACT_RUNNING_BEGIN:             return "BEGIN RUNNING";
	case INV_SENSOR_BAC_EVENT_ACT_ON_BICYCLE_BEGIN:          return "BEGIN ON_BICYCLE";
	case INV_SENSOR_BAC_EVENT_ACT_TILT_BEGIN:                return "BEGIN TILT";
	case INV_SENSOR_BAC_EVENT_ACT_STILL_BEGIN:               return "BEGIN STILL";
	case INV_SENSOR_BAC_EVENT_ACT_IN_VEHICLE_END:            return "END IN_VEHICLE";
	case INV_SENSOR_BAC_EVENT_ACT_WALKING_END:               return "END WALKING";
	case INV_SENSOR_BAC_EVENT_ACT_RUNNING_END:               return "END RUNNING";
	case INV_SENSOR_BAC_EVENT_ACT_ON_BICYCLE_END:            return "END ON_BICYCLE";
	case INV_SENSOR_BAC_EVENT_ACT_TILT_END:                  return "END TILT";
	case INV_SENSOR_BAC_EVENT_ACT_STILL_END:                 return "END STILL";
	default:                                                 return "unknown activity!";
	}
}

void inv_icm20948_sleep_us(int us)
{
	delay_us(us);
}

uint64_t inv_icm20948_get_time_us(void) {
//	return timer_get_counter(TIMEBASE_TIMER);
	return TIMEBASE_TIMER->CNT;
}

void ext_interrupt_cb(void * context, int int_num)
{
	(void)context;
	last_irq_time = inv_icm20948_get_time_us();
	irq_from_device = TO_MASK(int_num);
}

// EXTI Line9 External Interrupt ISR Handler CallBackFun
void HAL_GPIO_EXTI_Callback(uint16_t GPIO_Pin)
{
	ext_interrupt_cb(0, ACCEL_INT_Pin);
}

void modify_register(struct inv_icm20948 * s, uint16_t reg, unsigned char mask, unsigned char value) {
    unsigned char data[6];  // Adjust the size based on maximum data size needed
    unsigned char originalValue;

    // Read the current register value
    inv_icm20948_read_mems_reg(s, reg, 1, data);
    INV_MSG(INV_MSG_LEVEL_INFO, "Read from %u : %u", reg, data[0]);

    // Modify the register value based on mask and provided value
    originalValue = data[0];
    data[0] = (originalValue & ~mask) | (value & mask);  // Apply mask: clear bits using ~mask, then set from value

    // Write the modified value back to the register
    inv_icm20948_write_single_mems_reg(s, reg, data[0]);
    INV_MSG(INV_MSG_LEVEL_INFO, "Wrote to %u : %u", reg, data[0]);

    // Confirm the write by reading back the register
    inv_icm20948_read_mems_reg(s, reg, 1, data);
    INV_MSG(INV_MSG_LEVEL_INFO, "Confirmed from %u : %u", reg, data[0]);
}

/* USER CODE END 4 */

void Error_Handler(void)
{
  __disable_irq();
  while (1)
  {
  }
}
